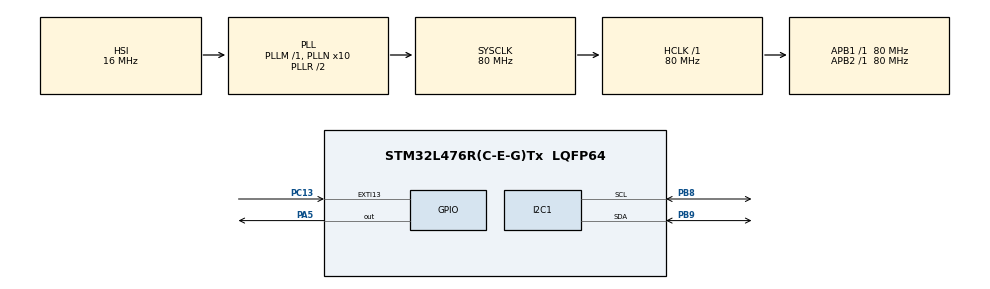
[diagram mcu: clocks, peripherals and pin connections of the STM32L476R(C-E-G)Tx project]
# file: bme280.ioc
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I2C1.Timing=0x10D19CE4
Mcu.Family=STM32L4
Mcu.Name=STM32L476R(C-E-G)Tx
Mcu.Package=LQFP64
NUCLEO-L476RG.BUTTON=1
NUCLEO-L476RG.LD2=true
NVIC.EXTI15_10_IRQn=true\:0\:0\:false\:false\:true\:false\:true\:true
NVIC.PriorityGroup=NVIC_PRIORITYGROUP_4
PA13\ (JTMS-SWDIO).GPIO_Label=TMS
PA13\ (JTMS-SWDIO).Signal=SYS_JTMS-SWDIO
PA14\ (JTCK-SWCLK).GPIO_Label=TCK
PA14\ (JTCK-SWCLK).Signal=SYS_JTCK-SWCLK
PA2.GPIO_Label=USART_TX
PA2.GPIO_Mode=GPIO_MODE_AF_PP
PA2.GPIO_PuPd=GPIO_NOPULL
PA2.GPIO_Speed=GPIO_SPEED_FREQ_VERY_HIGH
PA2.Signal=USART2_TX
PA3.GPIO_Label=USART_RX
PA3.GPIO_Mode=GPIO_MODE_AF_PP
PA3.GPIO_PuPd=GPIO_NOPULL
PA3.GPIO_Speed=GPIO_SPEED_FREQ_VERY_HIGH
PA3.Signal=USART2_RX
PA5.Signal=GPIO_Output
PB3\ (JTDO-TRACESWO).GPIO_Label=SWO
PB3\ (JTDO-TRACESWO).Signal=SYS_JTDO-SWO
PB8.Mode=I2C
PB8.Signal=I2C1_SCL
PB9.Mode=I2C
PB9.Signal=I2C1_SDA
PC13.Signal=GPXTI13
PC14-OSC32_IN\ (PC14).Signal=RCC_OSC32_IN
PC15-OSC32_OUT\ (PC15).Signal=RCC_OSC32_OUT
PH0-OSC_IN\ (PH0).Signal=RCC_OSC_IN
PH1-OSC_OUT\ (PH1).Signal=RCC_OSC_OUT
ProjectManager.HeapSize=0x200
ProjectManager.StackSize=0x400
ProjectManager.TargetToolchain=STM32CubeIDE
RCC.ADCFreq_Value=64000000
RCC.AHBFreq_Value=80000000
RCC.APB1Freq_Value=80000000
RCC.APB1TimFreq_Value=80000000
RCC.APB2Freq_Value=80000000
RCC.APB2TimFreq_Value=80000000
RCC.CortexFreq_Value=80000000
RCC.HCLKFreq_Value=80000000
RCC.HSE_VALUE=8000000
RCC.HSI_VALUE=16000000
RCC.LSE_VALUE=32768
RCC.MSI_VALUE=4000000
RCC.PLLN=10
RCC.PLLSourceVirtual=RCC_PLLSOURCE_HSI
RCC.PREFETCH_ENABLE=1
RCC.SYSCLKFreq_VALUE=80000000
RCC.SYSCLKSource=RCC_SYSCLKSOURCE_PLLCLK
RCC.USBFreq_Value=64000000
RCC.VCOOutputFreq_Value=160000000
VP_NUCLEO-L476RG_VS_BSP_COMMON.Mode=COMMON
board=NUCLEO-L476RG

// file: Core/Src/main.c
/* USER CODE BEGIN Header */
/**
  ******************************************************************************
  * @file           : main.c
  * @brief          : Main program body
  ******************************************************************************
  * @attention
  *
  * Copyright (c) 2026 STMicroelectronics.
  * All rights reserved.
  *
  * This software is licensed under terms that can be found in the LICENSE file
  * in the root directory of this software component.
  * If no LICENSE file comes with this software, it is provided AS-IS.
  *
  ******************************************************************************
  */
/* USER CODE END Header */
#include "main.h"

/* USER CODE BEGIN Includes */
#include "BME280_driver.h"
/* USER CODE END Includes */

I2C_HandleTypeDef hi2c1;

/* USER CODE BEGIN PV */
/* Watch these four in the Live Expressions view while the target runs. */
volatile BME280_Data       sensor       = {0};
volatile int32_t           temp_c_x100  = 0;   /* 2143 -> 21.43 C          */
volatile uint32_t          press_pa     = 0;   /* 96386 -> 963.86 hPa      */
volatile uint32_t          hum_rh_x100  = 0;   /* 0 on a BMP280            */
volatile HAL_StatusTypeDef bme_status   = HAL_ERROR;
volatile uint8_t           bme_chip_id  = 0;
volatile uint32_t          read_count   = 0;
volatile uint8_t           i2c_found[8] = {0};  /* 7-bit addresses that ACKed */
volatile uint8_t           i2c_found_count = 0;
/* USER CODE END PV */

void SystemClock_Config(void);
static void MX_GPIO_Init(void);
static void MX_I2C1_Init(void);

int main(void)
{

  /* MCU Configuration--------------------------------------------------------*/

  /* Reset of all peripherals, Initializes the Flash interface and the Systick. */
  HAL_Init();

  /* Configure the system clock */
  SystemClock_Config();

  /* Initialize all configured peripherals */
  MX_GPIO_Init();
  MX_I2C1_Init();
  /* USER CODE BEGIN 2 */
  /* Initialize leds */
  BSP_LED_Init(LED_GREEN);

  /* Initialize USER push-button, will be used to trigger an interrupt each time it's pressed.*/
  BSP_PB_Init(BUTTON_USER, BUTTON_MODE_EXTI);

  /* Scan the bus so the debugger shows what is actually connected. */
  for (uint8_t a = 0x08; a < 0x78 && i2c_found_count < sizeof(i2c_found); a++)
  {
    if (HAL_I2C_IsDeviceReady(&hi2c1, (uint16_t)(a << 1), 2, 5) == HAL_OK)
    {
      i2c_found[i2c_found_count++] = a;
    }
  }

  /* Bring up the sensor: probe it, reset it, read its calibration, start it.
   * The address depends on how the breakout straps SDO, so try both.
   */
  bme_status = BME280_Init(&hi2c1, BME280_ADDR_LOW);
  if (bme_status != HAL_OK)
  {
    bme_status = BME280_Init(&hi2c1, BME280_ADDR_HIGH);
  }
  bme_chip_id = BME280_GetChipID();

  if (bme_status != HAL_OK)
  {
    /* Sensor did not answer. Park here rather than spinning on bad data -
     * break in with the debugger and inspect bme_status / bme_chip_id.
     */
    while (1)
    {
      BSP_LED_Toggle(LED_GREEN);
      HAL_Delay(100);          /* fast blink = sensor fault */
    }
  }
  /* USER CODE END 2 */

  /* Initialize leds */
  BSP_LED_Init(LED_GREEN);

  /* Initialize USER push-button, will be used to trigger an interrupt each time it's pressed.*/
  BSP_PB_Init(BUTTON_USER, BUTTON_MODE_EXTI);

  /* Infinite loop */
  while (1)
  {

    /* USER CODE BEGIN 3 */
    if (BME280_ReadAll((BME280_Data *)&sensor) == HAL_OK)
    {
      temp_c_x100 = sensor.temperature;
      press_pa    = sensor.pressure;
      hum_rh_x100 = sensor.humidity;
      read_count++;
      BSP_LED_Toggle(LED_GREEN);   /* slow blink = healthy */
    }

    HAL_Delay(500);
  }
  /* USER CODE END 3 */
}

void SystemClock_Config(void)
{
  RCC_OscInitTypeDef RCC_OscInitStruct = {0};
  RCC_ClkInitTypeDef RCC_ClkInitStruct = {0};

  /** Configure the main internal regulator output voltage
  */
  if (HAL_PWREx_ControlVoltageScaling(PWR_REGULATOR_VOLTAGE_SCALE1) != HAL_OK)
  {
    Error_Handler();
  }

  /** Initializes the RCC Oscillators according to the specified parameters
  * in the RCC_OscInitTypeDef structure.
  */
  RCC_OscInitStruct.OscillatorType = RCC_OSCILLATORTYPE_HSI;
  RCC_OscInitStruct.HSIState = RCC_HSI_ON;
  RCC_OscInitStruct.HSICalibrationValue = RCC_HSICALIBRATION_DEFAULT;
  RCC_OscInitStruct.PLL.PLLState = RCC_PLL_ON;
  RCC_OscInitStruct.PLL.PLLSource = RCC_PLLSOURCE_HSI;
  RCC_OscInitStruct.PLL.PLLM = 1;
  RCC_OscInitStruct.PLL.PLLN = 10;
  RCC_OscInitStruct.PLL.PLLP = RCC_PLLP_DIV7;
  RCC_OscInitStruct.PLL.PLLQ = RCC_PLLQ_DIV2;
  RCC_OscInitStruct.PLL.PLLR = RCC_PLLR_DIV2;
  if (HAL_RCC_OscConfig(&RCC_OscInitStruct) != HAL_OK)
  {
    Error_Handler();
  }

  /** Initializes the CPU, AHB and APB buses clocks
  */
  RCC_ClkInitStruct.ClockType = RCC_CLOCKTYPE_HCLK|RCC_CLOCKTYPE_SYSCLK
                              |RCC_CLOCKTYPE_PCLK1|RCC_CLOCKTYPE_PCLK2;
  RCC_ClkInitStruct.SYSCLKSource = RCC_SYSCLKSOURCE_PLLCLK;
  RCC_ClkInitStruct.AHBCLKDivider = RCC_SYSCLK_DIV1;
  RCC_ClkInitStruct.APB1CLKDivider = RCC_HCLK_DIV1;
  RCC_ClkInitStruct.APB2CLKDivider = RCC_HCLK_DIV1;

  if (HAL_RCC_ClockConfig(&RCC_ClkInitStruct, FLASH_LATENCY_4) != HAL_OK)
  {
    Error_Handler();
  }
}

static void MX_I2C1_Init(void)
{

  hi2c1.Instance = I2C1;
  hi2c1.Init.Timing = 0x10D19CE4;
  hi2c1.Init.OwnAddress1 = 0;
  hi2c1.Init.AddressingMode = I2C_ADDRESSINGMODE_7BIT;
  hi2c1.Init.DualAddressMode = I2C_DUALADDRESS_DISABLE;
  hi2c1.Init.OwnAddress2 = 0;
  hi2c1.Init.OwnAddress2Masks = I2C_OA2_NOMASK;
  hi2c1.Init.GeneralCallMode = I2C_GENERALCALL_DISABLE;
  hi2c1.Init.NoStretchMode = I2C_NOSTRETCH_DISABLE;
  if (HAL_I2C_Init(&hi2c1) != HAL_OK)
  {
    Error_Handler();
  }

  /** Configure Analogue filter
  */
  if (HAL_I2CEx_ConfigAnalogFilter(&hi2c1, I2C_ANALOGFILTER_ENABLE) != HAL_OK)
  {
    Error_Handler();
  }

  /** Configure Digital filter
  */
  if (HAL_I2CEx_ConfigDigitalFilter(&hi2c1, 0) != HAL_OK)
  {
    Error_Handler();
  }

}

static void MX_GPIO_Init(void)
{
  GPIO_InitTypeDef GPIO_InitStruct = {0};

  /* GPIO Ports Clock Enable */
  __HAL_RCC_GPIOC_CLK_ENABLE();
  __HAL_RCC_GPIOH_CLK_ENABLE();
  __HAL_RCC_GPIOA_CLK_ENABLE();
  __HAL_RCC_GPIOB_CLK_ENABLE();

  /*Configure GPIO pins : USART_TX_Pin USART_RX_Pin */
  GPIO_InitStruct.Pin = USART_TX_Pin|USART_RX_Pin;
  GPIO_InitStruct.Mode = GPIO_MODE_AF_PP;
  GPIO_InitStruct.Pull = GPIO_NOPULL;
  GPIO_InitStruct.Speed = GPIO_SPEED_FREQ_VERY_HIGH;
  GPIO_InitStruct.Alternate = GPIO_AF7_USART2;
  HAL_GPIO_Init(GPIOA, &GPIO_InitStruct);

}

void Error_Handler(void)
{
  __disable_irq();
  while (1)
  {
  }
}
